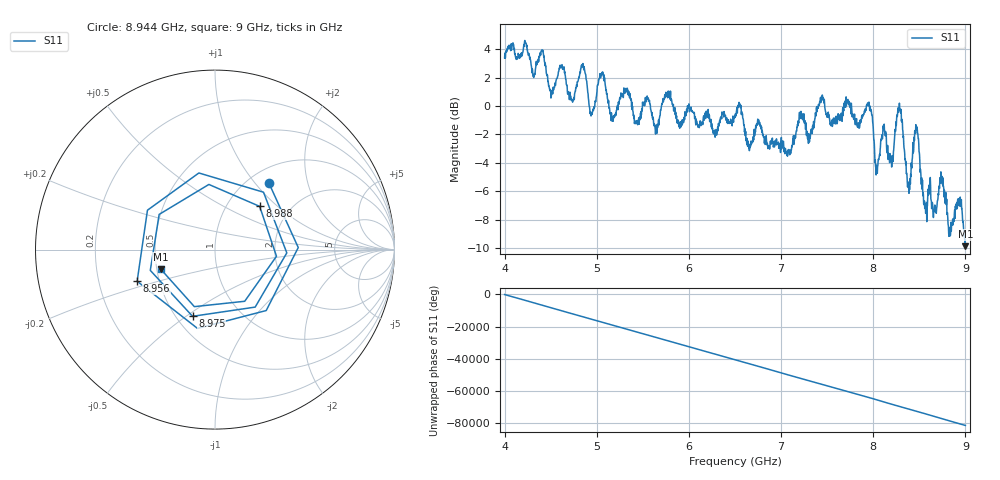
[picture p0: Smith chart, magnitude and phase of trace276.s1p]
! Created with skrf 1.8.0 (http://scikit-rf.org).
# Hz S RI R 50.0
!freq ReS11 ImS11
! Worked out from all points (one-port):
!   1601 points, 4 GHz to 9 GHz, reference 50 ohm
!   lowest |S11| = -9.9 dB at 9 GHz (marker M1), VSWR 1.95, Z = 26.3 - j6.4 ohm
!   |S11| at or under -10 dB: nowhere
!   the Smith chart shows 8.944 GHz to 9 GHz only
!   S11 on the Smith chart (normalised r, x): 8.944 GHz: 1.22, +1.18; 8.956 GHz: 0.37, -0.17; 8.975 GHz: 0.60, -0.53; 8.988 GHz: 1.41, +0.77; 9 GHz: 0.53, -0.13
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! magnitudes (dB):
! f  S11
! 4 GHz  3.4
! 4.403 GHz  3.9
! 4.509 GHz  0.9
! 4.625 GHz  2.9
! 4.728 GHz  0.4
! 4.856 GHz  2.8
! 4.941 GHz  -0.5
! 5.053 GHz  2.2
! 5.162 GHz  -0.9
! 5.25 GHz  0.6
! 5.875 GHz  -1.0
! 6.5 GHz  -0.8
! 7.125 GHz  -2.7
! 7.444 GHz  0.5
! 7.75 GHz  -0.1
! 7.962 GHz  -0.3
! 8.041 GHz  -4.4
! 8.116 GHz  -1.5
! 8.2 GHz  -4.3
! 8.291 GHz  -0.3
! 8.375 GHz  -5.6
! 8.469 GHz  -1.5
! 8.562 GHz  -6.9
! 8.944 GHz  -6.4
! 8.956 GHz  -6.6
! 8.975 GHz  -8.1
! 8.988 GHz  -9.2
! 9 GHz  -9.9
